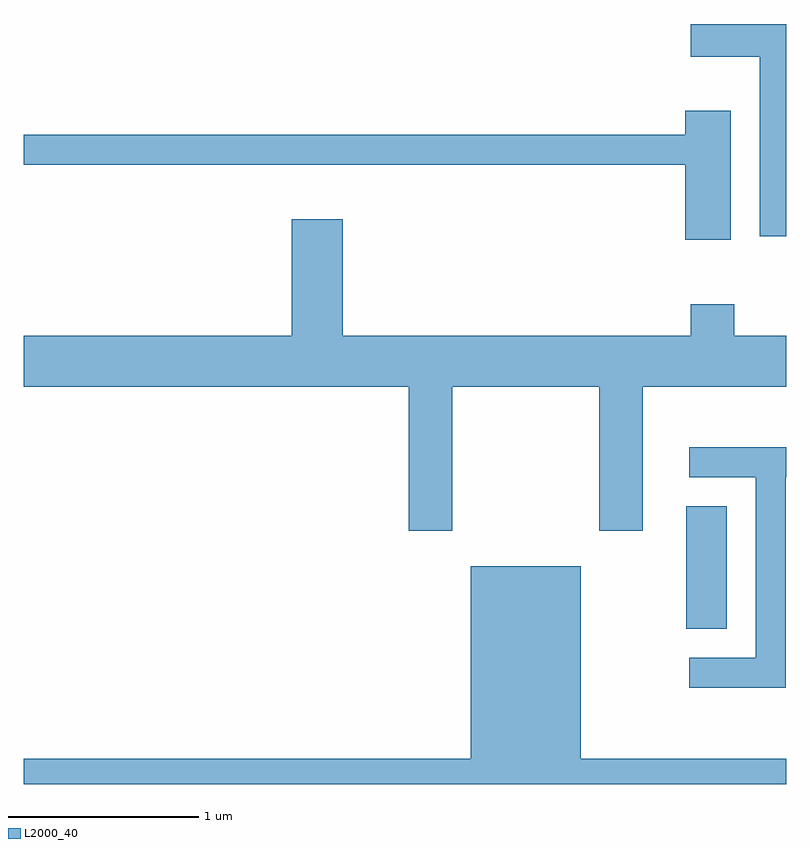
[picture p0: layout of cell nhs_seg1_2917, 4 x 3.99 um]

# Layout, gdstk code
import gdstk
lib = gdstk.Library(unit=1e-6, precision=1e-09)
def R(c, l, rs):  # rectangles x0, y0, x1, y1
    for r in rs: c.add(gdstk.rectangle(r[:2], r[2:], *l))
def P(c, l, *ps):  # polygons
    for p in ps: c.add(gdstk.Polygon(p, *l))
L2000_40 = (2000, 40)

nhs_seg1_2917 = lib.new_cell('nhs_seg1_2917')
R(nhs_seg1_2917, L2000_40, [(277.086,900.526,277.299,901.169)])
P(nhs_seg1_2917, L2000_40, [(277.611,903.699),(277.111,903.699),(277.111,903.526),(277.471,903.526),(277.471,902.586),(277.611,902.586)],
  [(277.319,903.244),(277.081,903.244),(277.081,903.119),(273.611,903.119),(273.611,902.961),(277.081,902.961),(277.081,902.566),(277.319,902.566)],
  [(275.859,901.796),(276.631,901.796),(276.631,901.041),(276.859,901.041),(276.859,901.796),(277.611,901.796),(277.611,902.064),(277.339,902.064),(277.339,902.229),(277.111,902.229),(277.111,902.064),(275.284,902.064),(275.284,902.674),(275.016,902.674),(275.016,902.064),(273.611,902.064),(273.611,901.796),(275.631,901.796),(275.631,901.041),(275.859,901.041)],
  [(277.609,901.321),(277.611,901.321),(277.611,901.479),(277.103,901.479),(277.103,901.321),(277.451,901.321),(277.451,900.374),(277.103,900.374),(277.103,900.216),(277.609,900.216)],
  [(277.611,899.844),(276.534,899.844),(276.534,900.854),(275.956,900.854),(275.956,899.844),(273.611,899.844),(273.611,899.712),(277.611,899.712)])

lib.write_gds('nhs_seg1_2917.gds')
